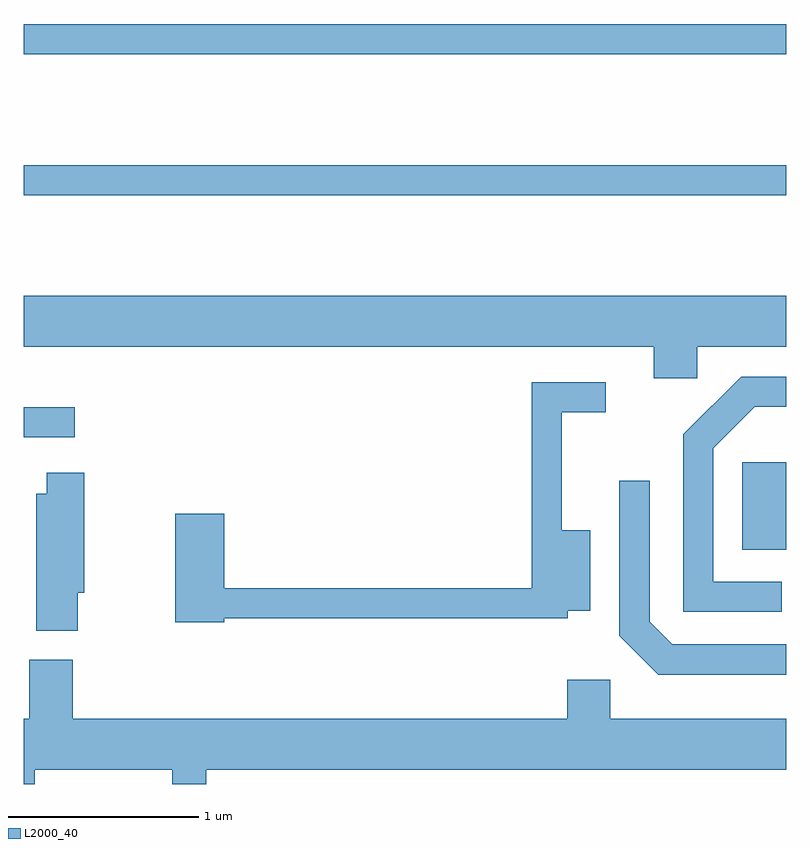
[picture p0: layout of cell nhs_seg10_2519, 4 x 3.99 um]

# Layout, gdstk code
import gdstk
lib = gdstk.Library(unit=1e-6, precision=1e-09)
def R(c, l, rs):  # rectangles x0, y0, x1, y1
    for r in rs: c.add(gdstk.rectangle(r[:2], r[2:], *l))
def P(c, l, *ps):  # polygons
    for p in ps: c.add(gdstk.Polygon(p, *l))
L2000_40 = (2000, 40)

nhs_seg10_2519 = lib.new_cell('nhs_seg10_2519')
R(nhs_seg10_2519, L2000_40, [(263.381,2101.751,263.611,2102.209), (259.611,2102.341,259.878,2102.499), (259.611,2103.611,263.611,2103.769), (259.611,2104.351,263.611,2104.509)])
P(nhs_seg10_2519, L2000_40, [(263.144,2102.816),(263.611,2102.816),(263.611,2103.084),(259.611,2103.084),(259.611,2102.816),(262.916,2102.816),(262.916,2102.651),(263.144,2102.651)],
  [(263.588,2101.584),(263.229,2101.584),(263.229,2102.284),(263.447,2102.501),(263.611,2102.501),(263.611,2102.659),(263.374,2102.659),(263.071,2102.357),(263.071,2101.426),(263.588,2101.426)],
  [(260.664,2101.391),(262.464,2101.391),(262.464,2101.431),(262.584,2101.431),(262.584,2101.854),(262.434,2101.854),(262.434,2102.471),(262.663,2102.471),(262.663,2102.629),(262.276,2102.629),(262.276,2101.549),(260.664,2101.549),(260.664,2101.939),(260.406,2101.939),(260.406,2101.371),(260.664,2101.371)],
  [(259.894,2101.526),(259.929,2101.526),(259.929,2102.154),(259.731,2102.154),(259.731,2102.044),(259.676,2102.044),(259.676,2101.326),(259.894,2101.326)],
  [(263.611,2101.254),(263.012,2101.254),(262.894,2101.372),(262.894,2102.113),(262.736,2102.113),(262.736,2101.299),(262.939,2101.096),(263.611,2101.096)],
  [(259.669,2100.596),(260.391,2100.596),(260.391,2100.522),(260.569,2100.522),(260.569,2100.596),(263.611,2100.596),(263.611,2100.864),(262.689,2100.864),(262.689,2101.069),(262.461,2101.069),(262.461,2100.864),(259.869,2100.864),(259.869,2101.174),(259.641,2101.174),(259.641,2100.864),(259.611,2100.864),(259.611,2100.522),(259.669,2100.522)])

lib.write_gds('nhs_seg10_2519.gds')
